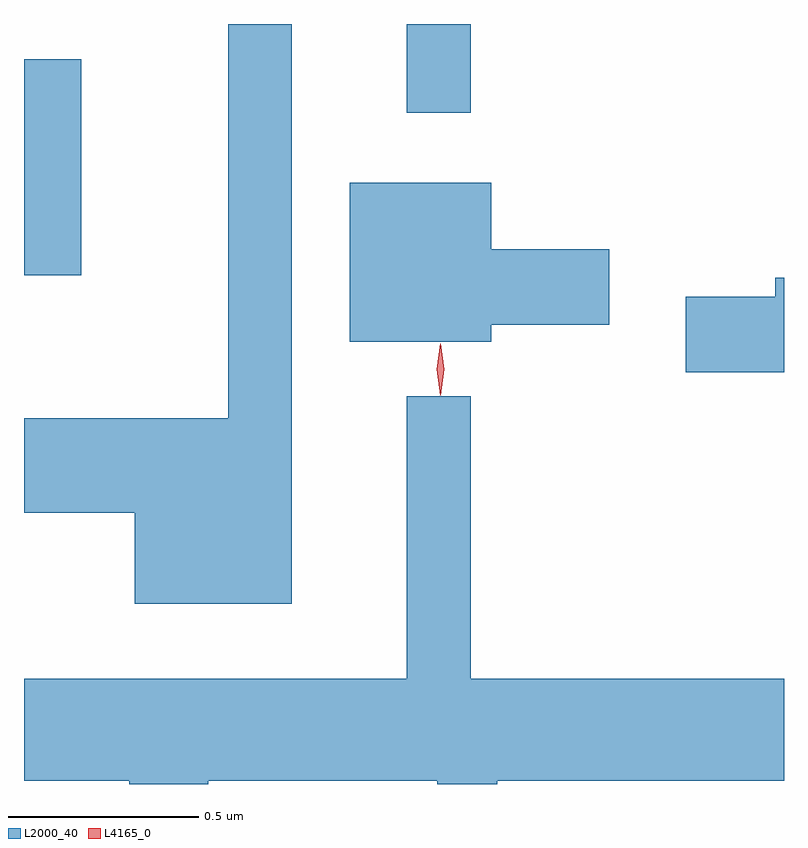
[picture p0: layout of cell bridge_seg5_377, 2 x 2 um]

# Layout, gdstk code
import gdstk
lib = gdstk.Library(unit=1e-6, precision=1e-09)
def R(c, l, rs):  # rectangles x0, y0, x1, y1
    for r in rs: c.add(gdstk.rectangle(r[:2], r[2:], *l))
def P(c, l, *ps):  # polygons
    for p in ps: c.add(gdstk.Polygon(p, *l))
L2000_40 = (2000, 40)
L4165_0 = (4165, 0)

bridge_seg5_377 = lib.new_cell('bridge_seg5_377')
R(bridge_seg5_377, L2000_40, [(683.794,1418.166,683.944,1418.734), (684.801,1418.593,684.969,1418.827)])
P(bridge_seg5_377, L2000_40, [(684.499,1418.827),(684.331,1418.827),(684.331,1417.789),(683.794,1417.789),(683.794,1417.541),(684.086,1417.541),(684.086,1417.301),(684.499,1417.301)],
  [(685.024,1418.036),(685.334,1418.036),(685.334,1418.234),(685.024,1418.234),(685.024,1418.409),(684.651,1418.409),(684.651,1417.991),(685.024,1417.991)],
  [(685.794,1418.159),(685.771,1418.159),(685.771,1418.109),(685.536,1418.109),(685.536,1417.911),(685.794,1417.911)],
  [(684.881,1416.827),(685.039,1416.827),(685.039,1416.836),(685.794,1416.836),(685.794,1417.104),(684.969,1417.104),(684.969,1417.848),(684.801,1417.848),(684.801,1417.104),(683.794,1417.104),(683.794,1416.836),(684.071,1416.836),(684.071,1416.827),(684.279,1416.827),(684.279,1416.836),(684.881,1416.836)])
P(bridge_seg5_377, L4165_0, [(684.89,1417.85),(684.89,1417.85),(684.88,1417.918),(684.89,1417.985),(684.89,1417.986),(684.891,1417.985),(684.9,1417.918),(684.891,1417.85)])

lib.write_gds('bridge_seg5_377.gds')
